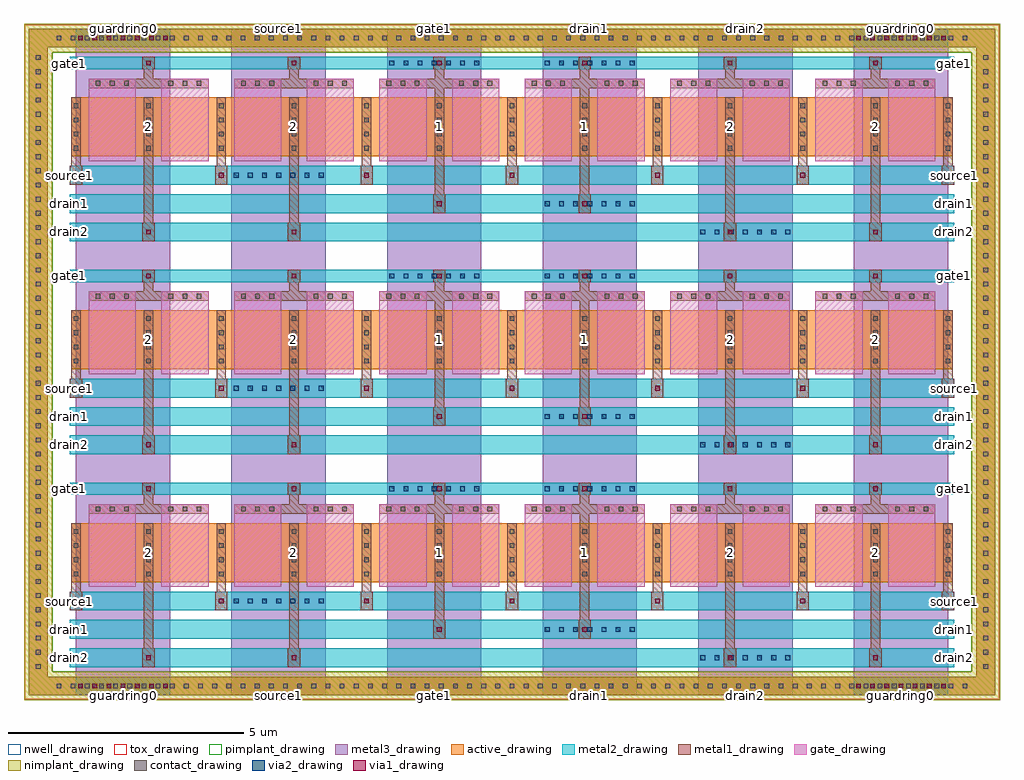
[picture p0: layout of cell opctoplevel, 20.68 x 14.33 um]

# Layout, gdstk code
import gdstk
lib = gdstk.Library(unit=1e-6, precision=1e-09)
def R(c, l, rs):  # rectangles x0, y0, x1, y1
    for r in rs: c.add(gdstk.rectangle(r[:2], r[2:], *l))
def A(c, l, x, y, w, h, nx, ny, dx, dy):  # array of equal rectangles
    R(c, l, [(x+i*dx, y+j*dy, x+i*dx+w, y+j*dy+h) for i in range(nx) for j in range(ny)])
active_drawing = (1, 0)
nwell_drawing = (3, 0)
pimplant_drawing = (4, 0)
nimplant_drawing = (5, 0)
gate_drawing = (6, 0)
contact_drawing = (7, 0)
metal1_drawing = (8, 0)
via1_drawing = (9, 0)
metal2_drawing = (10, 0)
via2_drawing = (11, 0)
metal3_drawing = (12, 0)
tox_drawing = (32, 0)

opctoplevel = lib.new_cell('opctoplevel')
A(opctoplevel, active_drawing, -0.37, 0, 3.28, 1.25, 6, 3, 3.08, 4.51)
R(opctoplevel, active_drawing, [(-1.27,-2.4,19.21,-2), (-1.27,-2.4,-0.87,11.73), (18.81,-2.4,19.21,11.73), (-1.27,11.33,19.21,11.73)])
R(opctoplevel, nwell_drawing, [(-1.37,-2.5,19.31,11.83)])
R(opctoplevel, pimplant_drawing, [(-0.77,-1.9,18.71,11.23)])
R(opctoplevel, nimplant_drawing, [(-1.37,-2.5,19.31,-1.9), (-1.37,-2.5,-0.77,11.83), (18.71,-2.5,19.31,11.83), (-1.37,11.23,19.31,11.83)])
A(opctoplevel, gate_drawing, 0, -0.1, 1, 1.75, 12, 3, 1.54, 4.51)
A(opctoplevel, contact_drawing, -0.68, -2.25, 0.1, 0.1, 65, 2, 0.3, 13.73)
A(opctoplevel, contact_drawing, -1.12, -1.835, 0.1, 0.1, 1, 44, 0, 0.3)
A(opctoplevel, contact_drawing, 18.96, -1.835, 0.1, 0.1, 1, 44, 0, 0.3)
A(opctoplevel, contact_drawing, -0.32, 0.125, 0.1, 0.1, 3, 4, 1.54, 0.3)
A(opctoplevel, contact_drawing, 2.76, 0.125, 0.1, 0.1, 3, 4, 1.54, 0.3)
A(opctoplevel, contact_drawing, 5.84, 0.125, 0.1, 0.1, 3, 4, 1.54, 0.3)
A(opctoplevel, contact_drawing, 8.92, 0.125, 0.1, 0.1, 3, 4, 1.54, 0.3)
A(opctoplevel, contact_drawing, 12, 0.125, 0.1, 0.1, 3, 4, 1.54, 0.3)
A(opctoplevel, contact_drawing, 15.08, 0.125, 0.1, 0.1, 3, 4, 1.54, 0.3)
A(opctoplevel, contact_drawing, 0.15, 1.5, 0.1, 0.1, 3, 3, 0.3, 4.51)
A(opctoplevel, contact_drawing, 1.69, 1.5, 0.1, 0.1, 3, 3, 0.3, 4.51)
A(opctoplevel, contact_drawing, 3.23, 1.5, 0.1, 0.1, 3, 3, 0.3, 4.51)
A(opctoplevel, contact_drawing, 4.77, 1.5, 0.1, 0.1, 3, 3, 0.3, 4.51)
A(opctoplevel, contact_drawing, 6.31, 1.5, 0.1, 0.1, 3, 3, 0.3, 4.51)
A(opctoplevel, contact_drawing, 7.85, 1.5, 0.1, 0.1, 3, 3, 0.3, 4.51)
A(opctoplevel, contact_drawing, 9.39, 1.5, 0.1, 0.1, 3, 3, 0.3, 4.51)
A(opctoplevel, contact_drawing, 10.93, 1.5, 0.1, 0.1, 3, 3, 0.3, 4.51)
A(opctoplevel, contact_drawing, 12.47, 1.5, 0.1, 0.1, 3, 3, 0.3, 4.51)
A(opctoplevel, contact_drawing, 14.01, 1.5, 0.1, 0.1, 3, 3, 0.3, 4.51)
A(opctoplevel, contact_drawing, 15.55, 1.5, 0.1, 0.1, 3, 3, 0.3, 4.51)
A(opctoplevel, contact_drawing, 17.09, 1.5, 0.1, 0.1, 3, 3, 0.3, 4.51)
A(opctoplevel, contact_drawing, -0.32, 4.635, 0.1, 0.1, 3, 4, 1.54, 0.3)
A(opctoplevel, contact_drawing, 2.76, 4.635, 0.1, 0.1, 3, 4, 1.54, 0.3)
A(opctoplevel, contact_drawing, 5.84, 4.635, 0.1, 0.1, 3, 4, 1.54, 0.3)
A(opctoplevel, contact_drawing, 8.92, 4.635, 0.1, 0.1, 3, 4, 1.54, 0.3)
A(opctoplevel, contact_drawing, 12, 4.635, 0.1, 0.1, 3, 4, 1.54, 0.3)
A(opctoplevel, contact_drawing, 15.08, 4.635, 0.1, 0.1, 3, 4, 1.54, 0.3)
A(opctoplevel, contact_drawing, -0.32, 9.145, 0.1, 0.1, 3, 4, 1.54, 0.3)
A(opctoplevel, contact_drawing, 2.76, 9.145, 0.1, 0.1, 3, 4, 1.54, 0.3)
A(opctoplevel, contact_drawing, 5.84, 9.145, 0.1, 0.1, 3, 4, 1.54, 0.3)
A(opctoplevel, contact_drawing, 8.92, 9.145, 0.1, 0.1, 3, 4, 1.54, 0.3)
A(opctoplevel, contact_drawing, 12, 9.145, 0.1, 0.1, 3, 4, 1.54, 0.3)
A(opctoplevel, contact_drawing, 15.08, 9.145, 0.1, 0.1, 3, 4, 1.54, 0.3)
A(opctoplevel, metal1_drawing, 1.14, -1.8, 0.26, 0.4, 1, 3, 0, 4.51)
A(opctoplevel, metal1_drawing, 1.17, -1.8, 0.2, 1.8, 1, 3, 0, 4.51)
A(opctoplevel, metal1_drawing, 4.22, -1.8, 0.26, 0.4, 1, 3, 0, 4.51)
A(opctoplevel, metal1_drawing, 4.25, -1.8, 0.2, 1.8, 1, 3, 0, 4.51)
A(opctoplevel, metal1_drawing, 13.46, -1.8, 0.26, 0.4, 1, 3, 0, 4.51)
A(opctoplevel, metal1_drawing, 13.49, -1.8, 0.2, 1.8, 1, 3, 0, 4.51)
A(opctoplevel, metal1_drawing, 16.54, -1.8, 0.26, 0.4, 1, 3, 0, 4.51)
A(opctoplevel, metal1_drawing, 16.57, -1.8, 0.2, 1.8, 1, 3, 0, 4.51)
A(opctoplevel, metal1_drawing, 7.3, -1.2, 0.26, 0.4, 1, 3, 0, 4.51)
A(opctoplevel, metal1_drawing, 7.33, -1.2, 0.2, 1.2, 1, 3, 0, 4.51)
A(opctoplevel, metal1_drawing, 10.38, -1.2, 0.26, 0.4, 1, 3, 0, 4.51)
A(opctoplevel, metal1_drawing, 10.41, -1.2, 0.2, 1.2, 1, 3, 0, 4.51)
A(opctoplevel, metal1_drawing, -0.4, -0.6, 0.26, 0.4, 1, 3, 0, 4.51)
A(opctoplevel, metal1_drawing, -0.37, -0.6, 0.2, 0.6, 1, 3, 0, 4.51)
A(opctoplevel, metal1_drawing, 18.08, -0.6, 0.26, 0.4, 1, 3, 0, 4.51)
A(opctoplevel, metal1_drawing, 18.11, -0.6, 0.2, 0.6, 1, 3, 0, 4.51)
A(opctoplevel, metal1_drawing, -0.37, 0, 0.2, 1.25, 3, 3, 1.54, 4.51)
A(opctoplevel, metal1_drawing, 2.71, 0, 0.2, 1.25, 3, 3, 1.54, 4.51)
A(opctoplevel, metal1_drawing, 5.79, 0, 0.2, 1.25, 3, 3, 1.54, 4.51)
A(opctoplevel, metal1_drawing, 8.87, 0, 0.2, 1.25, 3, 3, 1.54, 4.51)
A(opctoplevel, metal1_drawing, 11.95, 0, 0.2, 1.25, 3, 3, 1.54, 4.51)
A(opctoplevel, metal1_drawing, 15.03, 0, 0.2, 1.25, 3, 3, 1.54, 4.51)
A(opctoplevel, metal1_drawing, 7.33, 1.25, 0.2, 0.2, 1, 3, 0, 4.51)
A(opctoplevel, metal1_drawing, 10.41, 1.25, 0.2, 0.2, 1, 3, 0, 4.51)
A(opctoplevel, metal1_drawing, 1.17, 1.65, 0.2, 0.2, 6, 3, 3.08, 4.51)
A(opctoplevel, metal1_drawing, 1.14, 1.85, 0.26, 0.26, 6, 3, 3.08, 4.51)
R(opctoplevel, metal1_drawing, [(-1.27,-2.4,19.21,-2), (-1.27,-2.4,-0.87,11.73), (-0.27,-2.4,1.73,-2), (16.21,-2.4,18.21,-2), (18.81,-2.4,19.21,11.73), (2.68,-0.6,2.94,-0.2), (2.68,-0.6,2.94,-0.2), (2.71,-0.6,2.91,0), (2.71,-0.6,2.91,0), (5.76,-0.6,6.02,-0.2), (5.76,-0.6,6.02,-0.2), (5.79,-0.6,5.99,0), (5.79,-0.6,5.99,0), (8.84,-0.6,9.1,-0.2), (8.84,-0.6,9.1,-0.2), (8.87,-0.6,9.07,0), (8.87,-0.6,9.07,0), (11.92,-0.6,12.18,-0.2), (11.92,-0.6,12.18,-0.2), (11.95,-0.6,12.15,0), (11.95,-0.6,12.15,0), (15,-0.6,15.26,-0.2), (15,-0.6,15.26,-0.2), (15.03,-0.6,15.23,0), (15.03,-0.6,15.23,0), (0,1.45,2.54,1.65), (0,1.45,2.54,1.65), (3.08,1.45,5.62,1.65), (3.08,1.45,5.62,1.65), (6.16,1.45,8.7,1.65), (6.16,1.45,8.7,1.65), (9.24,1.45,11.78,1.65), (9.24,1.45,11.78,1.65), (12.32,1.45,14.86,1.65), (12.32,1.45,14.86,1.65), (15.4,1.45,17.94,1.65), (15.4,1.45,17.94,1.65), (2.68,3.91,2.94,4.31), (2.68,3.91,2.94,4.31), (2.71,3.91,2.91,4.51), (2.71,3.91,2.91,4.51), (5.76,3.91,6.02,4.31), (5.76,3.91,6.02,4.31), (5.79,3.91,5.99,4.51), (5.79,3.91,5.99,4.51), (8.84,3.91,9.1,4.31), (8.84,3.91,9.1,4.31), (8.87,3.91,9.07,4.51), (8.87,3.91,9.07,4.51), (11.92,3.91,12.18,4.31), (11.92,3.91,12.18,4.31), (11.95,3.91,12.15,4.51), (11.95,3.91,12.15,4.51), (15,3.91,15.26,4.31), (15,3.91,15.26,4.31), (15.03,3.91,15.23,4.51), (15.03,3.91,15.23,4.51), (0,5.96,2.54,6.16), (0,5.96,2.54,6.16), (3.08,5.96,5.62,6.16), (3.08,5.96,5.62,6.16), (6.16,5.96,8.7,6.16), (6.16,5.96,8.7,6.16), (9.24,5.96,11.78,6.16), (9.24,5.96,11.78,6.16), (12.32,5.96,14.86,6.16), (12.32,5.96,14.86,6.16), (15.4,5.96,17.94,6.16), (15.4,5.96,17.94,6.16), (2.68,8.42,2.94,8.82), (2.68,8.42,2.94,8.82), (2.71,8.42,2.91,9.02), (2.71,8.42,2.91,9.02), (5.76,8.42,6.02,8.82), (5.76,8.42,6.02,8.82), (5.79,8.42,5.99,9.02), (5.79,8.42,5.99,9.02), (8.84,8.42,9.1,8.82), (8.84,8.42,9.1,8.82), (8.87,8.42,9.07,9.02), (8.87,8.42,9.07,9.02), (11.92,8.42,12.18,8.82), (11.92,8.42,12.18,8.82), (11.95,8.42,12.15,9.02), (11.95,8.42,12.15,9.02), (15,8.42,15.26,8.82), (15,8.42,15.26,8.82), (15.03,8.42,15.23,9.02), (15.03,8.42,15.23,9.02), (0,10.47,2.54,10.67), (0,10.47,2.54,10.67), (3.08,10.47,5.62,10.67), (3.08,10.47,5.62,10.67), (6.16,10.47,8.7,10.67), (6.16,10.47,8.7,10.67), (9.24,10.47,11.78,10.67), (9.24,10.47,11.78,10.67), (12.32,10.47,14.86,10.67), (12.32,10.47,14.86,10.67), (15.4,10.47,17.94,10.67), (15.4,10.47,17.94,10.67), (-1.27,11.33,19.21,11.73), (-0.27,11.33,1.73,11.73), (16.21,11.33,18.21,11.73)])
A(opctoplevel, via1_drawing, -0.22, -2.25, 0.1, 0.1, 7, 2, 0.3, 13.73)
A(opctoplevel, via1_drawing, 16.26, -2.25, 0.1, 0.1, 7, 2, 0.3, 13.73)
A(opctoplevel, via1_drawing, 1.22, -1.65, 0.1, 0.1, 1, 3, 0, 4.51)
A(opctoplevel, via1_drawing, 4.3, -1.65, 0.1, 0.1, 1, 3, 0, 4.51)
A(opctoplevel, via1_drawing, 13.54, -1.65, 0.1, 0.1, 1, 3, 0, 4.51)
A(opctoplevel, via1_drawing, 16.62, -1.65, 0.1, 0.1, 1, 3, 0, 4.51)
A(opctoplevel, via1_drawing, 7.38, -1.05, 0.1, 0.1, 1, 3, 0, 4.51)
A(opctoplevel, via1_drawing, 10.46, -1.05, 0.1, 0.1, 1, 3, 0, 4.51)
A(opctoplevel, via1_drawing, -0.32, -0.45, 0.1, 0.1, 1, 3, 0, 4.51)
A(opctoplevel, via1_drawing, 18.16, -0.45, 0.1, 0.1, 1, 3, 0, 4.51)
A(opctoplevel, via1_drawing, 1.22, 1.93, 0.1, 0.1, 6, 3, 3.08, 4.51)
R(opctoplevel, via1_drawing, [(2.76,-0.45,2.86,-0.35), (2.76,-0.45,2.86,-0.35), (5.84,-0.45,5.94,-0.35), (5.84,-0.45,5.94,-0.35), (8.92,-0.45,9.02,-0.35), (8.92,-0.45,9.02,-0.35), (12,-0.45,12.1,-0.35), (12,-0.45,12.1,-0.35), (15.08,-0.45,15.18,-0.35), (15.08,-0.45,15.18,-0.35), (2.76,4.06,2.86,4.16), (2.76,4.06,2.86,4.16), (5.84,4.06,5.94,4.16), (5.84,4.06,5.94,4.16), (8.92,4.06,9.02,4.16), (8.92,4.06,9.02,4.16), (12,4.06,12.1,4.16), (12,4.06,12.1,4.16), (15.08,4.06,15.18,4.16), (15.08,4.06,15.18,4.16), (2.76,8.57,2.86,8.67), (2.76,8.57,2.86,8.67), (5.84,8.57,5.94,8.67), (5.84,8.57,5.94,8.67), (8.92,8.57,9.02,8.67), (8.92,8.57,9.02,8.67), (12,8.57,12.1,8.67), (12,8.57,12.1,8.67), (15.08,8.57,15.18,8.67), (15.08,8.57,15.18,8.67)])
A(opctoplevel, metal2_drawing, -0.4, -1.8, 18.74, 0.4, 1, 3, 0, 0.6)
A(opctoplevel, metal2_drawing, 1.14, -1.8, 0.26, 0.4, 1, 3, 0, 4.51)
A(opctoplevel, metal2_drawing, 4.22, -1.8, 0.26, 0.4, 1, 3, 0, 4.51)
A(opctoplevel, metal2_drawing, 13.46, -1.8, 0.26, 0.4, 1, 3, 0, 4.51)
A(opctoplevel, metal2_drawing, 16.54, -1.8, 0.26, 0.4, 1, 3, 0, 4.51)
A(opctoplevel, metal2_drawing, 7.3, -1.2, 0.26, 0.4, 1, 3, 0, 4.51)
A(opctoplevel, metal2_drawing, 10.38, -1.2, 0.26, 0.4, 1, 3, 0, 4.51)
A(opctoplevel, metal2_drawing, -0.4, -0.6, 0.26, 0.4, 1, 3, 0, 4.51)
A(opctoplevel, metal2_drawing, 18.08, -0.6, 0.26, 0.4, 1, 3, 0, 4.51)
A(opctoplevel, metal2_drawing, -0.4, 1.85, 18.74, 0.26, 1, 3, 0, 4.51)
A(opctoplevel, metal2_drawing, 1.14, 1.85, 0.26, 0.26, 6, 3, 3.08, 4.51)
A(opctoplevel, metal2_drawing, -0.4, 2.71, 18.74, 0.4, 1, 3, 0, 0.6)
A(opctoplevel, metal2_drawing, -0.4, 7.22, 18.74, 0.4, 1, 3, 0, 0.6)
R(opctoplevel, metal2_drawing, [(-0.27,-2.4,1.73,-2), (16.21,-2.4,18.21,-2), (2.68,-0.6,2.94,-0.2), (2.68,-0.6,2.94,-0.2), (5.76,-0.6,6.02,-0.2), (5.76,-0.6,6.02,-0.2), (8.84,-0.6,9.1,-0.2), (8.84,-0.6,9.1,-0.2), (11.92,-0.6,12.18,-0.2), (11.92,-0.6,12.18,-0.2), (15,-0.6,15.26,-0.2), (15,-0.6,15.26,-0.2), (2.68,3.91,2.94,4.31), (2.68,3.91,2.94,4.31), (5.76,3.91,6.02,4.31), (5.76,3.91,6.02,4.31), (8.84,3.91,9.1,4.31), (8.84,3.91,9.1,4.31), (11.92,3.91,12.18,4.31), (11.92,3.91,12.18,4.31), (15,3.91,15.26,4.31), (15,3.91,15.26,4.31), (2.68,8.42,2.94,8.82), (2.68,8.42,2.94,8.82), (5.76,8.42,6.02,8.82), (5.76,8.42,6.02,8.82), (8.84,8.42,9.1,8.82), (8.84,8.42,9.1,8.82), (11.92,8.42,12.18,8.82), (11.92,8.42,12.18,8.82), (15,8.42,15.26,8.82), (15,8.42,15.26,8.82), (-0.27,11.33,1.73,11.73), (16.21,11.33,18.21,11.73)])
A(opctoplevel, via2_drawing, -0.22, -2.25, 0.1, 0.1, 7, 2, 0.3, 13.73)
A(opctoplevel, via2_drawing, 16.26, -2.25, 0.1, 0.1, 7, 2, 0.3, 13.73)
A(opctoplevel, via2_drawing, 12.964, -1.65, 0.1, 0.1, 7, 3, 0.3, 4.51)
A(opctoplevel, via2_drawing, 9.668, -1.05, 0.1, 0.1, 7, 3, 0.3, 4.51)
A(opctoplevel, via2_drawing, 3.076, -0.45, 0.1, 0.1, 7, 3, 0.3, 4.51)
A(opctoplevel, via2_drawing, 6.372, 1.93, 0.1, 0.1, 7, 3, 0.3, 4.51)
R(opctoplevel, via2_drawing, [(9.668,1.93,9.768,2.03), (9.668,1.93,9.768,2.03), (9.668,1.93,9.768,2.03), (9.668,1.93,9.768,2.03), (9.668,1.93,9.768,2.03), (9.668,1.93,9.768,2.03), (9.968,1.93,10.068,2.03), (9.968,1.93,10.068,2.03), (9.968,1.93,10.068,2.03), (9.968,1.93,10.068,2.03), (9.968,1.93,10.068,2.03), (9.968,1.93,10.068,2.03), (10.268,1.93,10.368,2.03), (10.268,1.93,10.368,2.03), (10.268,1.93,10.368,2.03), (10.268,1.93,10.368,2.03), (10.268,1.93,10.368,2.03), (10.268,1.93,10.368,2.03), (10.568,1.93,10.668,2.03), (10.568,1.93,10.668,2.03), (10.568,1.93,10.668,2.03), (10.568,1.93,10.668,2.03), (10.568,1.93,10.668,2.03), (10.568,1.93,10.668,2.03), (10.868,1.93,10.968,2.03), (10.868,1.93,10.968,2.03), (10.868,1.93,10.968,2.03), (10.868,1.93,10.968,2.03), (10.868,1.93,10.968,2.03), (10.868,1.93,10.968,2.03), (11.168,1.93,11.268,2.03), (11.168,1.93,11.268,2.03), (11.168,1.93,11.268,2.03), (11.168,1.93,11.268,2.03), (11.168,1.93,11.268,2.03), (11.168,1.93,11.268,2.03), (11.468,1.93,11.568,2.03), (11.468,1.93,11.568,2.03), (11.468,1.93,11.568,2.03), (11.468,1.93,11.568,2.03), (11.468,1.93,11.568,2.03), (11.468,1.93,11.568,2.03), (9.668,6.44,9.768,6.54), (9.668,6.44,9.768,6.54), (9.668,6.44,9.768,6.54), (9.668,6.44,9.768,6.54), (9.668,6.44,9.768,6.54), (9.668,6.44,9.768,6.54), (9.968,6.44,10.068,6.54), (9.968,6.44,10.068,6.54), (9.968,6.44,10.068,6.54), (9.968,6.44,10.068,6.54), (9.968,6.44,10.068,6.54), (9.968,6.44,10.068,6.54), (10.268,6.44,10.368,6.54), (10.268,6.44,10.368,6.54), (10.268,6.44,10.368,6.54), (10.268,6.44,10.368,6.54), (10.268,6.44,10.368,6.54), (10.268,6.44,10.368,6.54), (10.568,6.44,10.668,6.54), (10.568,6.44,10.668,6.54), (10.568,6.44,10.668,6.54), (10.568,6.44,10.668,6.54), (10.568,6.44,10.668,6.54), (10.568,6.44,10.668,6.54), (10.868,6.44,10.968,6.54), (10.868,6.44,10.968,6.54), (10.868,6.44,10.968,6.54), (10.868,6.44,10.968,6.54), (10.868,6.44,10.968,6.54), (10.868,6.44,10.968,6.54), (11.168,6.44,11.268,6.54), (11.168,6.44,11.268,6.54), (11.168,6.44,11.268,6.54), (11.168,6.44,11.268,6.54), (11.168,6.44,11.268,6.54), (11.168,6.44,11.268,6.54), (11.468,6.44,11.568,6.54), (11.468,6.44,11.568,6.54), (11.468,6.44,11.568,6.54), (11.468,6.44,11.568,6.54), (11.468,6.44,11.568,6.54), (11.468,6.44,11.568,6.54), (9.668,10.95,9.768,11.05), (9.668,10.95,9.768,11.05), (9.668,10.95,9.768,11.05), (9.668,10.95,9.768,11.05), (9.668,10.95,9.768,11.05), (9.668,10.95,9.768,11.05), (9.968,10.95,10.068,11.05), (9.968,10.95,10.068,11.05), (9.968,10.95,10.068,11.05), (9.968,10.95,10.068,11.05), (9.968,10.95,10.068,11.05), (9.968,10.95,10.068,11.05), (10.268,10.95,10.368,11.05), (10.268,10.95,10.368,11.05), (10.268,10.95,10.368,11.05), (10.268,10.95,10.368,11.05), (10.268,10.95,10.368,11.05), (10.268,10.95,10.368,11.05), (10.568,10.95,10.668,11.05), (10.568,10.95,10.668,11.05), (10.568,10.95,10.668,11.05), (10.568,10.95,10.668,11.05), (10.568,10.95,10.668,11.05), (10.568,10.95,10.668,11.05), (10.868,10.95,10.968,11.05), (10.868,10.95,10.968,11.05), (10.868,10.95,10.968,11.05), (10.868,10.95,10.968,11.05), (10.868,10.95,10.968,11.05), (10.868,10.95,10.968,11.05), (11.168,10.95,11.268,11.05), (11.168,10.95,11.268,11.05), (11.168,10.95,11.268,11.05), (11.168,10.95,11.268,11.05), (11.168,10.95,11.268,11.05), (11.168,10.95,11.268,11.05), (11.468,10.95,11.568,11.05), (11.468,10.95,11.568,11.05), (11.468,10.95,11.568,11.05), (11.468,10.95,11.568,11.05), (11.468,10.95,11.568,11.05), (11.468,10.95,11.568,11.05)])
A(opctoplevel, metal3_drawing, -0.27, -2.4, 2, 14.13, 6, 1, 3.296, 0)
R(opctoplevel, metal3_drawing, [(-0.27,-2.4,1.73,-2), (16.21,-2.4,18.21,-2), (-0.27,11.33,1.73,11.73), (16.21,11.33,18.21,11.73)])
R(opctoplevel, tox_drawing, [(-1.35,-2.48,19.29,11.81)])
opctoplevel.add(gdstk.Label('2', (1.27,0.625), layer=234, texttype=0))
opctoplevel.add(gdstk.Label('2', (4.35,0.625), layer=234, texttype=0))
opctoplevel.add(gdstk.Label('1', (7.43,0.625), layer=234, texttype=0))
opctoplevel.add(gdstk.Label('1', (10.51,0.625), layer=234, texttype=0))
opctoplevel.add(gdstk.Label('2', (13.59,0.625), layer=234, texttype=0))
opctoplevel.add(gdstk.Label('2', (16.67,0.625), layer=234, texttype=0))
opctoplevel.add(gdstk.Label('2', (1.27,5.135), layer=234, texttype=0))
opctoplevel.add(gdstk.Label('2', (4.35,5.135), layer=234, texttype=0))
opctoplevel.add(gdstk.Label('1', (7.43,5.135), layer=234, texttype=0))
opctoplevel.add(gdstk.Label('1', (10.51,5.135), layer=234, texttype=0))
opctoplevel.add(gdstk.Label('2', (13.59,5.135), layer=234, texttype=0))
opctoplevel.add(gdstk.Label('2', (16.67,5.135), layer=234, texttype=0))
opctoplevel.add(gdstk.Label('2', (1.27,9.645), layer=234, texttype=0))
opctoplevel.add(gdstk.Label('2', (4.35,9.645), layer=234, texttype=0))
opctoplevel.add(gdstk.Label('1', (7.43,9.645), layer=234, texttype=0))
opctoplevel.add(gdstk.Label('1', (10.51,9.645), layer=234, texttype=0))
opctoplevel.add(gdstk.Label('2', (13.59,9.645), layer=234, texttype=0))
opctoplevel.add(gdstk.Label('2', (16.67,9.645), layer=234, texttype=0))
opctoplevel.add(gdstk.Label('gate1', (-0.4,1.98), layer=10, texttype=0))
opctoplevel.add(gdstk.Label('gate1', (18.34,1.98), layer=10, texttype=0))
opctoplevel.add(gdstk.Label('gate1', (-0.4,6.49), layer=10, texttype=0))
opctoplevel.add(gdstk.Label('gate1', (18.34,6.49), layer=10, texttype=0))
opctoplevel.add(gdstk.Label('gate1', (-0.4,11), layer=10, texttype=0))
opctoplevel.add(gdstk.Label('gate1', (18.34,11), layer=10, texttype=0))
opctoplevel.add(gdstk.Label('source1', (-0.4,-0.4), layer=10, texttype=0))
opctoplevel.add(gdstk.Label('source1', (18.34,-0.4), layer=10, texttype=0))
opctoplevel.add(gdstk.Label('drain1', (-0.4,-1), layer=10, texttype=0))
opctoplevel.add(gdstk.Label('drain1', (18.34,-1), layer=10, texttype=0))
opctoplevel.add(gdstk.Label('drain2', (-0.4,-1.6), layer=10, texttype=0))
opctoplevel.add(gdstk.Label('drain2', (18.34,-1.6), layer=10, texttype=0))
opctoplevel.add(gdstk.Label('source1', (-0.4,4.11), layer=10, texttype=0))
opctoplevel.add(gdstk.Label('source1', (18.34,4.11), layer=10, texttype=0))
opctoplevel.add(gdstk.Label('drain1', (-0.4,3.51), layer=10, texttype=0))
opctoplevel.add(gdstk.Label('drain1', (18.34,3.51), layer=10, texttype=0))
opctoplevel.add(gdstk.Label('drain2', (-0.4,2.91), layer=10, texttype=0))
opctoplevel.add(gdstk.Label('drain2', (18.34,2.91), layer=10, texttype=0))
opctoplevel.add(gdstk.Label('source1', (-0.4,8.62), layer=10, texttype=0))
opctoplevel.add(gdstk.Label('source1', (18.34,8.62), layer=10, texttype=0))
opctoplevel.add(gdstk.Label('drain1', (-0.4,8.02), layer=10, texttype=0))
opctoplevel.add(gdstk.Label('drain1', (18.34,8.02), layer=10, texttype=0))
opctoplevel.add(gdstk.Label('drain2', (-0.4,7.42), layer=10, texttype=0))
opctoplevel.add(gdstk.Label('drain2', (18.34,7.42), layer=10, texttype=0))
opctoplevel.add(gdstk.Label('guardring0', (0.73,-2.4), layer=12, texttype=0))
opctoplevel.add(gdstk.Label('guardring0', (0.73,11.73), layer=12, texttype=0))
opctoplevel.add(gdstk.Label('source1', (4.026,-2.4), layer=12, texttype=0))
opctoplevel.add(gdstk.Label('source1', (4.026,11.73), layer=12, texttype=0))
opctoplevel.add(gdstk.Label('gate1', (7.322,-2.4), layer=12, texttype=0))
opctoplevel.add(gdstk.Label('gate1', (7.322,11.73), layer=12, texttype=0))
opctoplevel.add(gdstk.Label('drain1', (10.618,-2.4), layer=12, texttype=0))
opctoplevel.add(gdstk.Label('drain1', (10.618,11.73), layer=12, texttype=0))
opctoplevel.add(gdstk.Label('drain2', (13.914,-2.4), layer=12, texttype=0))
opctoplevel.add(gdstk.Label('drain2', (13.914,11.73), layer=12, texttype=0))
opctoplevel.add(gdstk.Label('guardring0', (17.21,-2.4), layer=12, texttype=0))
opctoplevel.add(gdstk.Label('guardring0', (17.21,11.73), layer=12, texttype=0))

lib.write_gds('opctoplevel.gds')
